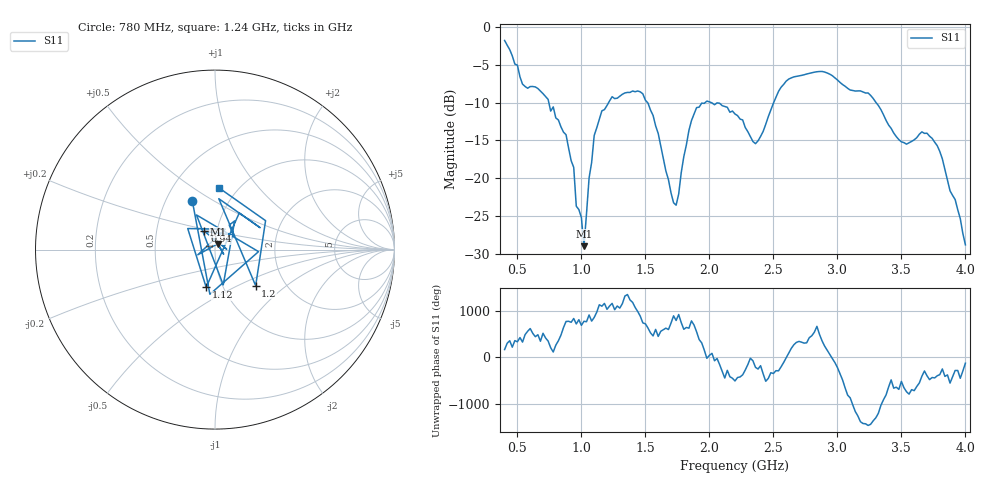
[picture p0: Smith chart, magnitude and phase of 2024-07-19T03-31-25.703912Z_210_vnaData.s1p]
!Created with skrf (http://scikit-rf.org).
# Hz S RI R 50.0
!freq ReS11 ImS11
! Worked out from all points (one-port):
!   181 points, 400 MHz to 4 GHz, reference 50 ohm
!   lowest |S11| = -29.0 dB at 1.02 GHz (marker M1), VSWR 1.07, Z = 51.7 + j3.18 ohm
!   |S11| at or under -10 dB: 745.6 MHz to 1.212 GHz (466.8 MHz wide, 47.7 % of centre); 2.015 GHz to 2.502 GHz (486.6 MHz wide, 21.5 % of centre); 3.303 GHz to end of sweep (the widest 3 of 4)
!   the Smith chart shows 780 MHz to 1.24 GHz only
!   S11 on the Smith chart (normalised r, x): 780 MHz: 0.68, +0.40; 940 MHz: 0.87, +0.18; 1.12 GHz: 0.83, -0.37; 1.2 GHz: 1.42, -0.63; 1.24 GHz: 0.81, +0.64
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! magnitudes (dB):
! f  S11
! 400 MHz  -1.8
! 540 MHz  -7.5
! 780 MHz  -10.6
! 860 MHz  -13.9
! 940 MHz  -18.6
! 960 MHz  -23.7
! 1 GHz  -25.2
! 1.02 GHz  -29.0
! 1.06 GHz  -20.0
! 1.12 GHz  -13.3
! 1.2 GHz  -10.4
! 1.24 GHz  -9.2
! 1.3 GHz  -9.1
! 1.48 GHz  -8.8
! 1.6 GHz  -14.1
! 1.72 GHz  -23.3
! 1.76 GHz  -22.1
! 1.84 GHz  -13.7
! 1.9 GHz  -10.7
! 2.2 GHz  -11.5
! 2.36 GHz  -15.4
! 2.66 GHz  -6.6
! 3.1 GHz  -8.3
! 3.24 GHz  -8.7
! 3.56 GHz  -15.3
! 3.66 GHz  -13.9
! 3.78 GHz  -15.7
! 4 GHz  -28.8
